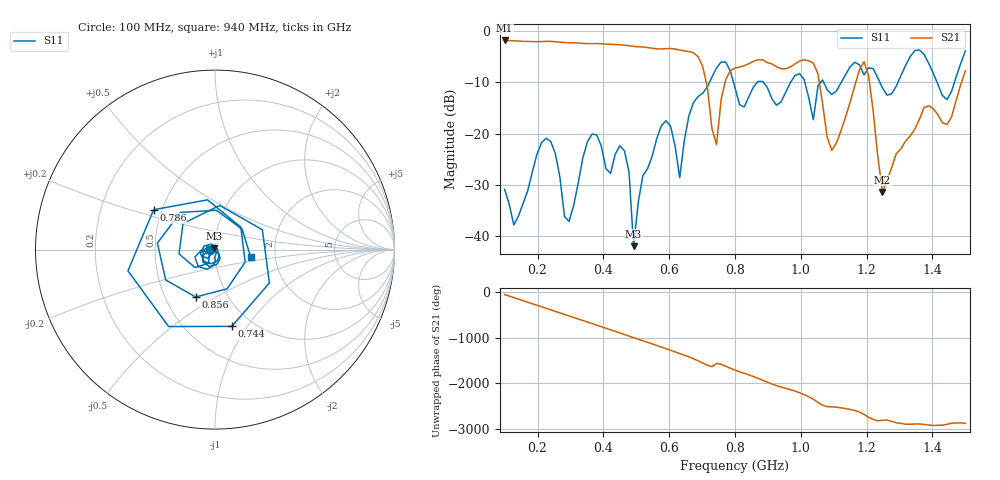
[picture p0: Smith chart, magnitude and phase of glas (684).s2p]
! NanoVNA-App
! Date: 2025-09-25 16:00:48
! Start: 100MHz Stop: 1,5GHz Points: 101
! S-Parameter data: F S11 S21 S12 S22
# Hz S RI R 50
!  Frequency  S11_Real  S11_Imag  S21_Real  S21_Imag  S12_Real  S12_Imag  S22_Real  S22_Imag
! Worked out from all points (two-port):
!   101 points, 100 MHz to 1.5 GHz, reference 50 ohm
!   highest |S21| = -1.80 dB at 100 MHz (marker M1); lowest = -31.5 dB at 1.248 GHz (marker M2)
!   |S21| within 3 dB of the highest: start of sweep to 684.5 MHz
!   lowest |S11| = -42.0 dB at 492 MHz (marker M3), VSWR 1.02, Z = 49.5 + j0.614 ohm
!   |S11| at or under -10 dB: start of sweep to 722.5 MHz; 795.5 MHz to 867.7 MHz (72.26 MHz wide, 8.69 % of centre); 886.3 MHz to 968.7 MHz (82.46 MHz wide, 8.89 % of centre) (the widest 3 of 7)
!   S12 and S22 are empty: the file has one direction only
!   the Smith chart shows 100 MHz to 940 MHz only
!   S11 on the Smith chart (normalised r, x): 100 MHz: 0.94, -0.01; 744 MHz: 0.80, -0.85; 786 MHz: 0.45, +0.24; 856 MHz: 0.71, -0.41; 940 MHz: 1.49, -0.14
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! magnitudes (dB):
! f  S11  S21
! 100 MHz  -30.9  -1.8
! 128 MHz  -37.9  -1.9
! 226 MHz  -20.9  -2.0
! 296 MHz  -37.2  -2.2
! 338 MHz  -24.7  -2.4
! 464 MHz  -23.4  -2.7
! 492 MHz  -42.0  -2.9
! 576 MHz  -18.5  -3.5
! 632 MHz  -28.6  -3.7
! 702 MHz  -12.1  -6.9
! 744 MHz  -7.2  -22.2
! 786 MHz  -7.8  -7.7
! 800 MHz  -11.1  -7.2
! 856 MHz  -10.9  -5.9
! 940 MHz  -13.8  -7.3
! 996 MHz  -8.3  -5.8
! 1.038 GHz  -17.3  -6.2
! 1.094 GHz  -12.4  -23.3
! 1.192 GHz  -8.5  -5.9
! 1.248 GHz  -11.1  -31.5
! 1.276 GHz  -12.2  -26.7
! 1.5 GHz  -3.8  -7.7
